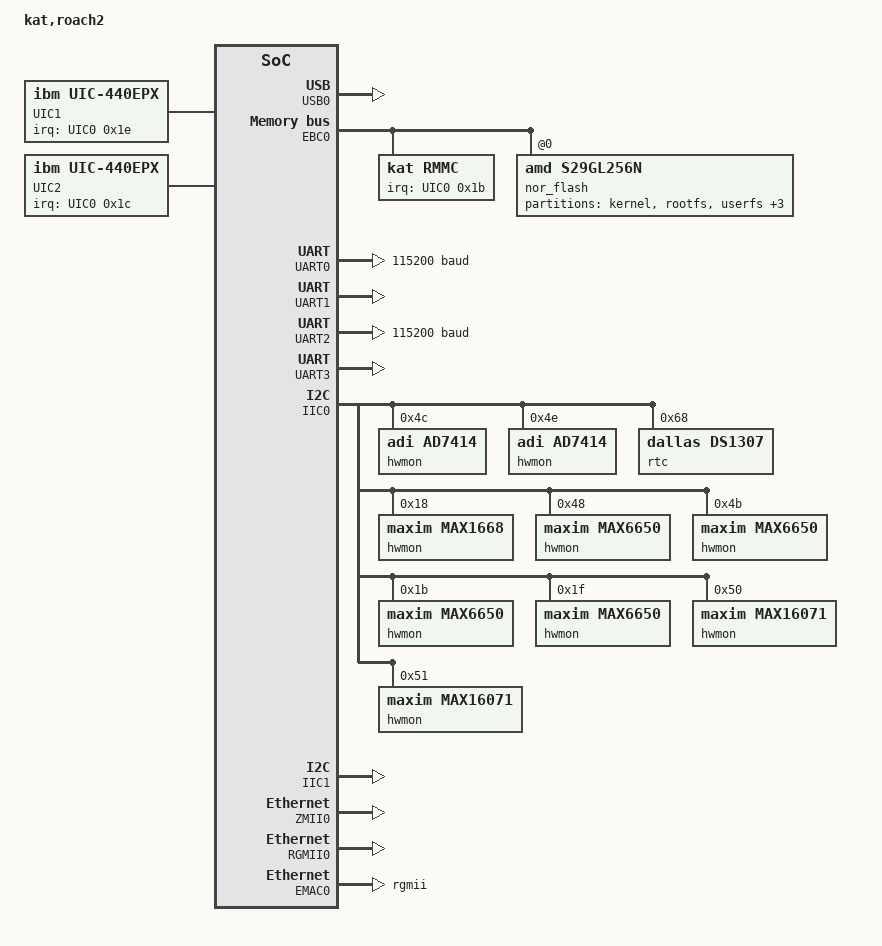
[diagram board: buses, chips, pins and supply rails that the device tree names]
/*
 * Device Tree Source for SKA/KAT ROACH-2
 *
 * Based on Sequoia code by ???
 * Based on Bamboo code by Josh Boyer <jwboyer@linux.vnet.ibm.com>
 * Copyright (c) 2006, 2007 IBM Corp.
 *
 * FIXME: Draft only!
 *
 * This file is licensed under the terms of the GNU General Public
 * License version 2.  This program is licensed "as is" without
 * any warranty of any kind, whether express or implied.
 *
 */

/dts-v1/;

/ {
  #address-cells = <2>;
  #size-cells = <1>;
  model = "kat,roach2";
  compatible = "kat,roach2";
  dcr-parent = <&{/cpus/cpu@0}>;

  aliases {
    ethernet0 = &EMAC0;
    serial0 = &UART0;
    serial1 = &UART1;
    serial2 = &UART2;
    serial3 = &UART3;
  };

  cpus {
    #address-cells = <1>;
    #size-cells = <0>;

    cpu@0 {
      device_type = "cpu";
      model = "PowerPC,440EPx";
      reg = <0x00000000>;
      clock-frequency = <0>; /* Filled in by zImage */
      timebase-frequency = <0>; /* Filled in by zImage */
      i-cache-line-size = <32>;
      d-cache-line-size = <32>;
      i-cache-size = <32768>;
      d-cache-size = <32768>;
      dcr-controller;
      dcr-access-method = "native";
    };
  };

  memory {
    device_type = "memory";
    reg = <0x00000000 0x00000000 0x00000000>; /* Filled in by zImage */
  };

  UIC0: interrupt-controller0 {
    compatible = "ibm,uic-440epx","ibm,uic";
    interrupt-controller;
    cell-index = <0>;
    dcr-reg = <0x0c0 0x009>;
    #address-cells = <0>;
    #size-cells = <0>;
    #interrupt-cells = <2>;
  };

  UIC1: interrupt-controller1 {
    compatible = "ibm,uic-440epx","ibm,uic";
    interrupt-controller;
    cell-index = <1>;
    dcr-reg = <0x0d0 0x009>;
    #address-cells = <0>;
    #size-cells = <0>;
    #interrupt-cells = <2>;
    interrupts = <0x1e 0x4 0x1f 0x4>; /* cascade */
    interrupt-parent = <&UIC0>;
  };

  UIC2: interrupt-controller2 {
    compatible = "ibm,uic-440epx","ibm,uic";
    interrupt-controller;
    cell-index = <2>;
    dcr-reg = <0x0e0 0x009>;
    #address-cells = <0>;
    #size-cells = <0>;
    #interrupt-cells = <2>;
    interrupts = <0x1c 0x4 0x1d 0x4>; /* cascade */
    interrupt-parent = <&UIC0>;
  };

  SDR0: sdr {
    compatible = "ibm,sdr-440epx", "ibm,sdr-440ep";
    dcr-reg = <0x00e 0x002>;
  };

  CPR0: cpr {
    compatible = "ibm,cpr-440epx", "ibm,cpr-440ep";
    dcr-reg = <0x00c 0x002>;
  };

  plb {
    compatible = "ibm,plb-440epx", "ibm,plb4";
    #address-cells = <2>;
    #size-cells = <1>;
    ranges;
    clock-frequency = <0>; /* Filled in by zImage */

    SDRAM0: sdram {
      compatible = "ibm,sdram-440epx", "ibm,sdram-44x-ddr2denali";
      dcr-reg = <0x010 0x002>;
    };

    DMA0: dma {
      compatible = "ibm,dma-440epx", "ibm,dma-4xx";
      dcr-reg = <0x100 0x027>;
    };

    MAL0: mcmal {
      compatible = "ibm,mcmal-440epx", "ibm,mcmal2";
      dcr-reg = <0x180 0x062>;
      num-tx-chans = <2>;
      num-rx-chans = <2>;
      interrupt-parent = <&MAL0>;
      interrupts = <0x0 0x1 0x2 0x3 0x4>;
      #interrupt-cells = <1>;
      #address-cells = <0>;
      #size-cells = <0>;
      interrupt-map = </*TXEOB*/ 0x0 &UIC0 0xa 0x4
          /*RXEOB*/ 0x1 &UIC0 0xb 0x4
          /*SERR*/  0x2 &UIC1 0x0 0x4
          /*TXDE*/  0x3 &UIC1 0x1 0x4
          /*RXDE*/  0x4 &UIC1 0x2 0x4>;
      interrupt-map-mask = <0xffffffff>;
    };

    USB0: ehci@e0000300 {
      compatible = "ibm,usb-ehci-440epx", "usb-ehci";
      interrupt-parent = <&UIC0>;
      interrupts = <0x1a 0x4>;
      reg = <0x00000000 0xe0000300 0x00000090 0x00000000 0xe0000390 0x00000070>;
      big-endian;
    };

    POB0: opb {
        compatible = "ibm,opb-440epx", "ibm,opb";
      #address-cells = <1>;
      #size-cells = <1>;
        ranges = <0x00000000 0x00000001 0x00000000 0x80000000
                0x80000000 0x00000001 0x80000000 0x80000000>;
        interrupt-parent = <&UIC1>;
        interrupts = <0x7 0x4>;
        clock-frequency = <0>; /* Filled in by zImage */

      EBC0: ebc {
        compatible = "ibm,ebc-440epx", "ibm,ebc";
        dcr-reg = <0x012 0x002>;
        #address-cells = <2>;
        #size-cells = <1>;
        clock-frequency = <0>; /* Filled in by zImage */
        interrupts = <0x5 0x1>;
        interrupt-parent = <&UIC1>;

        rmmc@0,0 {
          compatible = "kat,rmmc";
          interrupt-parent = <&UIC0>;
          interrupts = <0x1b 0x8>;
        };

        nor_flash@0,0 {
          compatible = "amd,s29gl256n", "cfi-flash";
          bank-width = <2>;
          reg = <0x00000000 0x00000000 0x08000000>;
          #address-cells = <1>;
          #size-cells = <1>;
          partition@0 {
            label = "kernel";
            reg = <0x00000000 0x00400000>;
          };
          partition@400000 {
            label = "rootfs";
            reg = <0x00400000 0x04000000>;
          };
          partition@4400000 {
            label = "userfs";
            reg = <0x04400000 0x03000000>;
          };
          partition@7400000 {
            label = "v6bitstream";
            reg = <0x07400000 0x00b00000>;
          };
          partition@7f40000 {
            label = "ubootenv";
            reg = <0x07f40000 0x00040000>;
          };
          partition@7f80000 {
            label = "uboot";
            reg = <0x07f80000 0x00080000>;
          };
        };
      };

      UART0: serial@ef600300 {
           device_type = "serial";
           compatible = "ns16550";
           reg = <0xef600300 0x00000008>;
           virtual-reg = <0xef600300>;
           clock-frequency = <0>; /* Filled in by zImage */
           current-speed = <115200>;
           interrupt-parent = <&UIC0>;
           interrupts = <0x0 0x4>;
         };

      UART1: serial@ef600400 {
         device_type = "serial";
         compatible = "ns16550";
         reg = <0xef600400 0x00000008>;
         virtual-reg = <0xef600400>;
         clock-frequency = <0>;
         current-speed = <0>;
         interrupt-parent = <&UIC0>;
         interrupts = <0x1 0x4>;
      };

      UART2: serial@ef600500 {
           device_type = "serial";
           compatible = "ns16550";
           reg = <0xef600500 0x00000008>;
           virtual-reg = <0xef600500>;
           clock-frequency = <0>; /* Filled in by zImage */
           current-speed = <115200>;
           interrupt-parent = <&UIC1>;
           interrupts = <0x3 0x4>;
         };

      UART3: serial@ef600600 {
         device_type = "serial";
         compatible = "ns16550";
         reg = <0xef600600 0x00000008>;
         virtual-reg = <0xef600600>;
         clock-frequency = <0>;
         current-speed = <0>;
         interrupt-parent = <&UIC1>;
         interrupts = <0x4 0x4>;
      };

      IIC0: i2c@ef600700 {
        #address-cells = <1>;
        #size-cells = <0>;
        compatible = "ibm,iic-440epx", "ibm,iic";
        reg = <0xef600700 0x00000014>;
        interrupt-parent = <&UIC0>;
        interrupts = <0x2 0x4>;

        hwmon@4c {
          compatible = "adi,ad7414";
          reg = <0x4c>;
        };

        hwmon@4e {
          compatible = "adi,ad7414";
          reg = <0x4e>;
        };

        rtc@68 {
          compatible = "dallas,ds1307";
          reg = <0x68>;
        };

        hwmon@18 {
          compatible = "maxim,max1668";
          reg = <0x18>;
        };

        hwmon@48 {
          compatible = "maxim,max6650";
          reg = <0x48>;
        };

        hwmon@4b {
          compatible = "maxim,max6650";
          reg = <0x4b>;
        };

        hwmon@1b {
          compatible = "maxim,max6650";
          reg = <0x1b>;
        };

        hwmon@1f {
          compatible = "maxim,max6650";
          reg = <0x1f>;
        };

        hwmon@50 {
          compatible = "maxim,max16071";
          reg = <0x50>;
        };

        hwmon@51 {
          compatible = "maxim,max16071";
          reg = <0x51>;
        };
      };

      IIC1: i2c@ef600800 {
        #address-cells = <1>;
        #size-cells = <0>;
        compatible = "ibm,iic-440epx", "ibm,iic";
        reg = <0xef600800 0x00000014>;
        interrupt-parent = <&UIC0>;
        interrupts = <0x7 0x4>;
      };

      V5FPGA: fpga@d0000000{
        device_type = "fpga";
        xlnx,family = "virtex5";
        compatible = "kat,roach2-fpga";
        reg = <0xd0000000 0x8000000>;
      };

     R2CHASSIS: r2chassis {
       compatible = "kat,r2chassis";
       interrupt-parent = <&UIC2>;
       interrupts = <0x0 0x2>;
     };

      SMAP:  smap@c0100000{
	compatible = "smap";
	reg = <0xc0100000 0x00200000>;
       };

      GPIO0: gpio@ef600b00 {
	compatible = "ibm,ppc4xx-gpio";
	reg = <0xef600b00 0x00000048>;
	#gpio-cells = <2>;
	gpio-controller;
      };

      GPIO1: gpio@ef600c00 {
	compatible = "ibm,ppc4xx-gpio";
	reg = <0xef600c00 0x00000048>;
	#gpio-cells = <2>;
	gpio-controller;
      };

      gpio-pins {
	       compatible = "gpio-pins";
	       cpu_err {
			gpios = <&GPIO0 10 0>;
			default-state = "keep";
	       };
	       init_n {
			gpios = <&GPIO0 12 0>;
			default-state = "keep";
	       };
	       done {
			gpios = <&GPIO0 13 0>;
			default-state = "keep";
	       };
	       prog_n {
			gpios = <&GPIO0 14 0>;
			default-state = "keep";
	       };
	       rdwr_n {
			gpios = <&GPIO0 15 0>;
			default-state = "keep";
	       };
	       fault_n {
			gpios = <&GPIO0 41 0>;
			default-state = "keep";
	       };
	       powerdown {
			gpios = <&GPIO0 22 0>;
			default-state = "keep";
	       };
	       cpu_rdy {
			gpios = <&GPIO0 29 0>;
			default-state = "keep";
	       };
      };

      ZMII0: emac-zmii@ef600d00 {
        compatible = "ibm,zmii-440epx", "ibm,zmii";
        reg = <0xef600d00 0x0000000c>;
      };

      RGMII0: emac-rgmii@ef601000 {
        compatible = "ibm,rgmii-440epx", "ibm,rgmii";
        reg = <0xef601000 0x00000008>;
        has-mdio;
      };

      EMAC0: ethernet@ef600e00 {
        device_type = "network";
        compatible = "ibm,emac-440epx", "ibm,emac4";
        interrupt-parent = <&EMAC0>;
        interrupts = <0x0 0x1>;
        #interrupt-cells = <1>;
        #address-cells = <0>;
        #size-cells = <0>;
        interrupt-map = </*Status*/ 0x0 &UIC0 0x18 0x4
            /*Wake*/  0x1 &UIC1 0x1d 0x4>;
        reg = <0xef600e00 0x00000074>;
        local-mac-address = [000000000000];
        mal-device = <&MAL0>;
        mal-tx-channel = <0>;
        mal-rx-channel = <0>;
        cell-index = <0>;
        max-frame-size = <9000>;
        rx-fifo-size = <4096>;
        tx-fifo-size = <2048>;
        phy-mode = "rgmii";
        phy-map = <0x00000001>;
        zmii-device = <&ZMII0>;
        zmii-channel = <0>;
        rgmii-device = <&RGMII0>;
        rgmii-channel = <0>;
        has-inverted-stacr-oc;
        has-new-stacr-staopc;
      };
    };
  };

  chosen {
    linux,stdout-path = "/plb/opb/serial@ef600300";
  };
};
